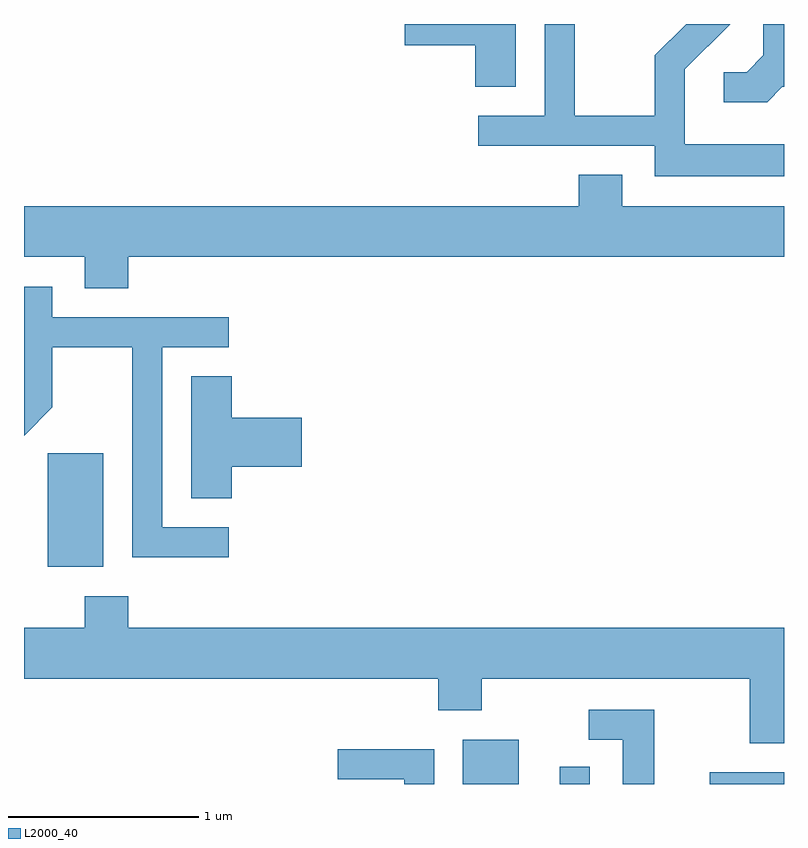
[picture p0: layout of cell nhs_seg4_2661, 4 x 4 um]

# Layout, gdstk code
import gdstk
lib = gdstk.Library(unit=1e-6, precision=1e-09)
def R(c, l, rs):  # rectangles x0, y0, x1, y1
    for r in rs: c.add(gdstk.rectangle(r[:2], r[2:], *l))
def P(c, l, *ps):  # polygons
    for p in ps: c.add(gdstk.Polygon(p, *l))
L2000_40 = (2000, 40)

nhs_seg4_2661 = lib.new_cell('nhs_seg4_2661')
R(nhs_seg4_2661, L2000_40, [(265.921,1271.982,266.214,1272.214), (266.431,1271.982,266.589,1272.073), (267.221,1271.982,267.611,1272.044), (263.736,1273.126,264.029,1273.724)])
P(nhs_seg4_2661, L2000_40, [(267.611,1275.349),(267.089,1275.349),(267.089,1275.744),(267.327,1275.982),(267.096,1275.982),(266.931,1275.817),(266.931,1275.499),(266.509,1275.499),(266.509,1275.982),(266.351,1275.982),(266.351,1275.499),(266.003,1275.499),(266.003,1275.341),(266.931,1275.341),(266.931,1275.181),(267.611,1275.181)],
  [(267.602,1275.651),(267.611,1275.651),(267.611,1275.982),(267.501,1275.982),(267.501,1275.817),(267.414,1275.729),(267.293,1275.729),(267.293,1275.571),(267.522,1275.571)],
  [(266.199,1275.982),(265.616,1275.982),(265.616,1275.871),(265.986,1275.871),(265.986,1275.651),(266.199,1275.651)],
  [(264.159,1274.756),(267.611,1274.756),(267.611,1275.024),(266.759,1275.024),(266.759,1275.189),(266.531,1275.189),(266.531,1275.024),(263.611,1275.024),(263.611,1274.756),(263.931,1274.756),(263.931,1274.591),(264.159,1274.591)],
  [(264.688,1273.334),(264.339,1273.334),(264.339,1274.281),(264.688,1274.281),(264.688,1274.439),(263.759,1274.439),(263.759,1274.599),(263.611,1274.599),(263.611,1273.816),(263.759,1273.964),(263.759,1274.281),(264.181,1274.281),(264.181,1273.176),(264.688,1273.176)],
  [(264.704,1273.651),(265.074,1273.651),(265.074,1273.909),(264.704,1273.909),(264.704,1274.129),(264.491,1274.129),(264.491,1273.486),(264.704,1273.486)],
  [(263.931,1272.969),(263.931,1272.804),(263.611,1272.804),(263.611,1272.536),(265.791,1272.536),(265.791,1272.371),(266.019,1272.371),(266.019,1272.536),(267.431,1272.536),(267.431,1272.196),(267.611,1272.196),(267.611,1272.804),(264.159,1272.804),(264.159,1272.969)],
  [(266.929,1272.374),(266.583,1272.374),(266.583,1272.216),(266.761,1272.216),(266.761,1271.982),(266.929,1271.982)],
  [(265.769,1272.164),(265.263,1272.164),(265.263,1272.006),(265.611,1272.006),(265.611,1271.982),(265.769,1271.982)])

lib.write_gds('nhs_seg4_2661.gds')
